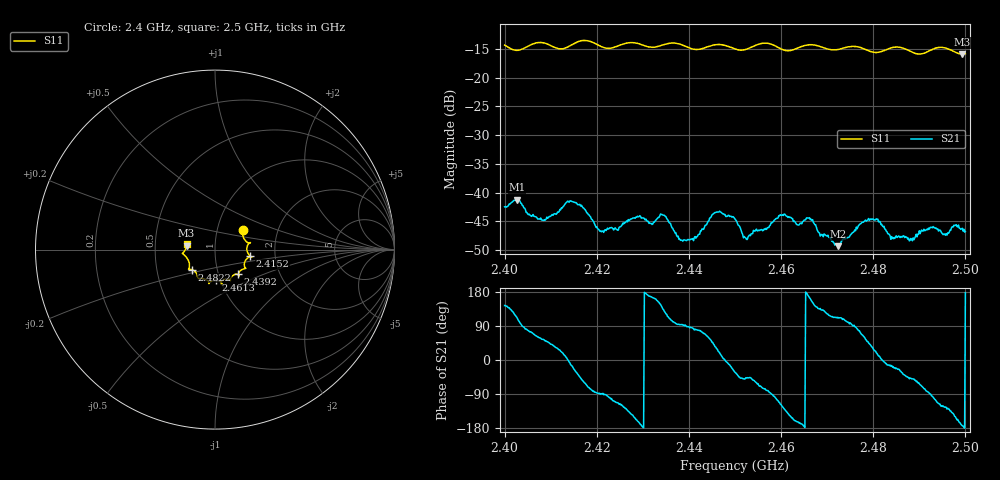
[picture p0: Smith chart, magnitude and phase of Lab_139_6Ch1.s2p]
# Hz S RI R 50
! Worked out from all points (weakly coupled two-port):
!   601 points, 2.4 GHz to 2.5 GHz, reference 50 ohm
!   highest |S21| = -41.24 dB at 2.4027 GHz (marker M1); lowest = -49.3 dB at 2.4723 GHz (marker M2)
!   lowest |S11| = -15.9 dB at 2.4993 GHz (marker M3), VSWR 1.38, Z = 36.3 + j1.61 ohm
!   |S11| at or under -10 dB: start of sweep to end of sweep
!   S12 and S22 are empty: the file has one direction only
!   S11 on the Smith chart (normalised r, x): 2.4 GHz: 1.33, +0.31; 2.4152 GHz: 1.48, -0.11; 2.4392 GHz: 1.23, -0.35; 2.4613 GHz: 0.96, -0.34; 2.4822 GHz: 0.76, -0.17; 2.5 GHz: 0.73, +0.05
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2.4e9  0.156 0.1108  -0.00607 0.00446  0 0  0 0
2.402667e9  0.1589 0.0664  -0.0033 0.00801  0 0  0 0
2.4085e9  0.196 0.0393  0.0034 0.00461  0 0  0 0
2.415167e9  0.1951 -0.0359  0.00738 -0.00364  0 0  0 0
2.416667e9  0.2049 -0.0418  0.00498 -0.00595  0 0  0 0
2.421e9  0.1791 -0.0491  9.76e-05 -0.00456  0 0  0 0
2.433333e9  0.1321 -0.1321  -0.00544 0.00269  0 0  0 0
2.434667e9  0.1311 -0.1427  -0.00394 0.00497  0 0  0 0
2.439167e9  0.1267 -0.1377  -0.000163 0.00386  0 0  0 0
2.441833e9  0.1001 -0.1438  0.000784 0.00408  0 0  0 0
2.445667e9  0.0849 -0.1729  0.00548 0.00387  0 0  0 0
2.45e9  0.0689 -0.1635  0.00497 -0.00317  0 0  0 0
2.452333e9  0.0436 -0.1699  0.00275 -0.00295  0 0  0 0
2.456667e9  0.0393 -0.1952  0.000946 -0.00479  0 0  0 0
2.461333e9  0.00725 -0.1709  -0.00465 -0.00411  0 0  0 0
2.466667e9  -0.0337 -0.1898  -0.00519 0.00245  0 0  0 0
2.472333e9  -0.0698 -0.1605  -0.00131 0.00316  0 0  0 0
2.4785e9  -0.0987 -0.1436  0.00344 0.00447  0 0  0 0
2.482167e9  -0.1284 -0.1119  0.00505 -0.000209  0 0  0 0
2.483333e9  -0.1397 -0.1102  0.00426 -0.000983  0 0  0 0
2.499333e9  -0.1583 0.0216  -0.00487 -0.00053  0 0  0 0
2.5e9  -0.1578 0.0336  -0.00458 0.000182  0 0  0 0
